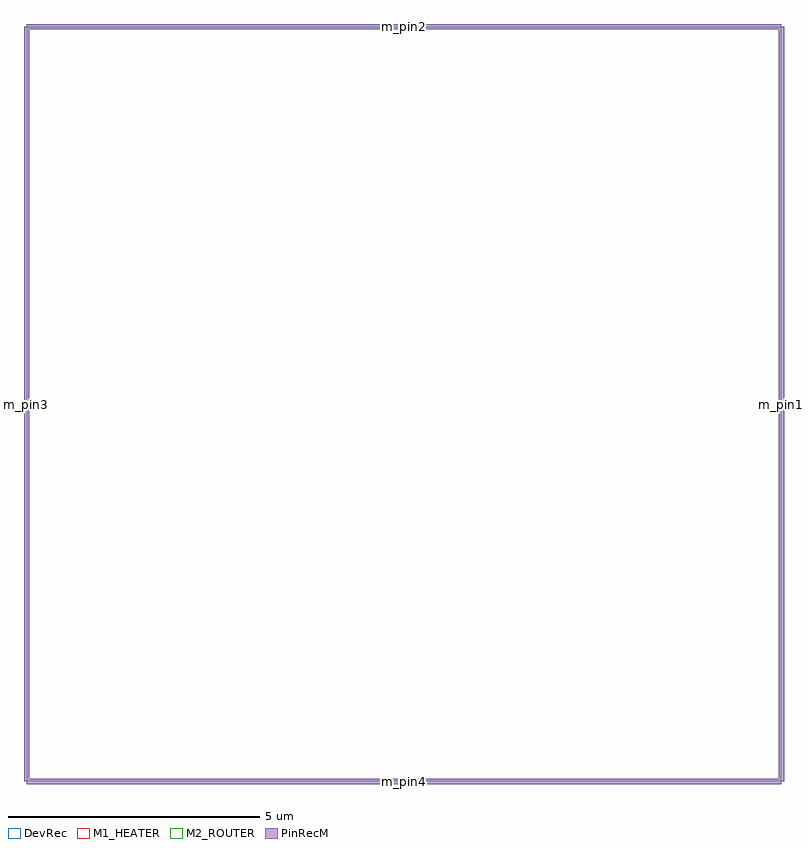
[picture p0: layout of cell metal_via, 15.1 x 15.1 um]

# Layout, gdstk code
import gdstk
lib = gdstk.Library(unit=1e-6, precision=1e-09)
def R(c, l, rs):  # rectangles x0, y0, x1, y1
    for r in rs: c.add(gdstk.rectangle(r[:2], r[2:], *l))
PinRecM = (1, 11)
M1_HEATER = (11, 0)
M2_ROUTER = (12, 0)
DevRec = (68, 0)

metal_via = lib.new_cell('metal_via')
R(metal_via, PinRecM, [(-7.5,-7.55,7.5,-7.45), (-7.55,-7.5,-7.45,7.5), (7.45,-7.5,7.55,7.5), (-7.5,7.45,7.5,7.55)])
R(metal_via, M1_HEATER, [(-7.5,-7.5,7.5,7.5)])
R(metal_via, M2_ROUTER, [(-7.5,-7.5,7.5,7.5)])
R(metal_via, DevRec, [(-7.5,-7.5,7.5,7.5)])
metal_via.add(gdstk.Label('m_pin1', (7.5,0), layer=1, texttype=11))
metal_via.add(gdstk.Label('m_pin3', (-7.5,0), layer=1, texttype=11))
metal_via.add(gdstk.Label('m_pin4', (0,-7.5), layer=1, texttype=11))
metal_via.add(gdstk.Label('m_pin2', (0,7.5), layer=1, texttype=11))

lib.write_gds('metal_via.gds')
